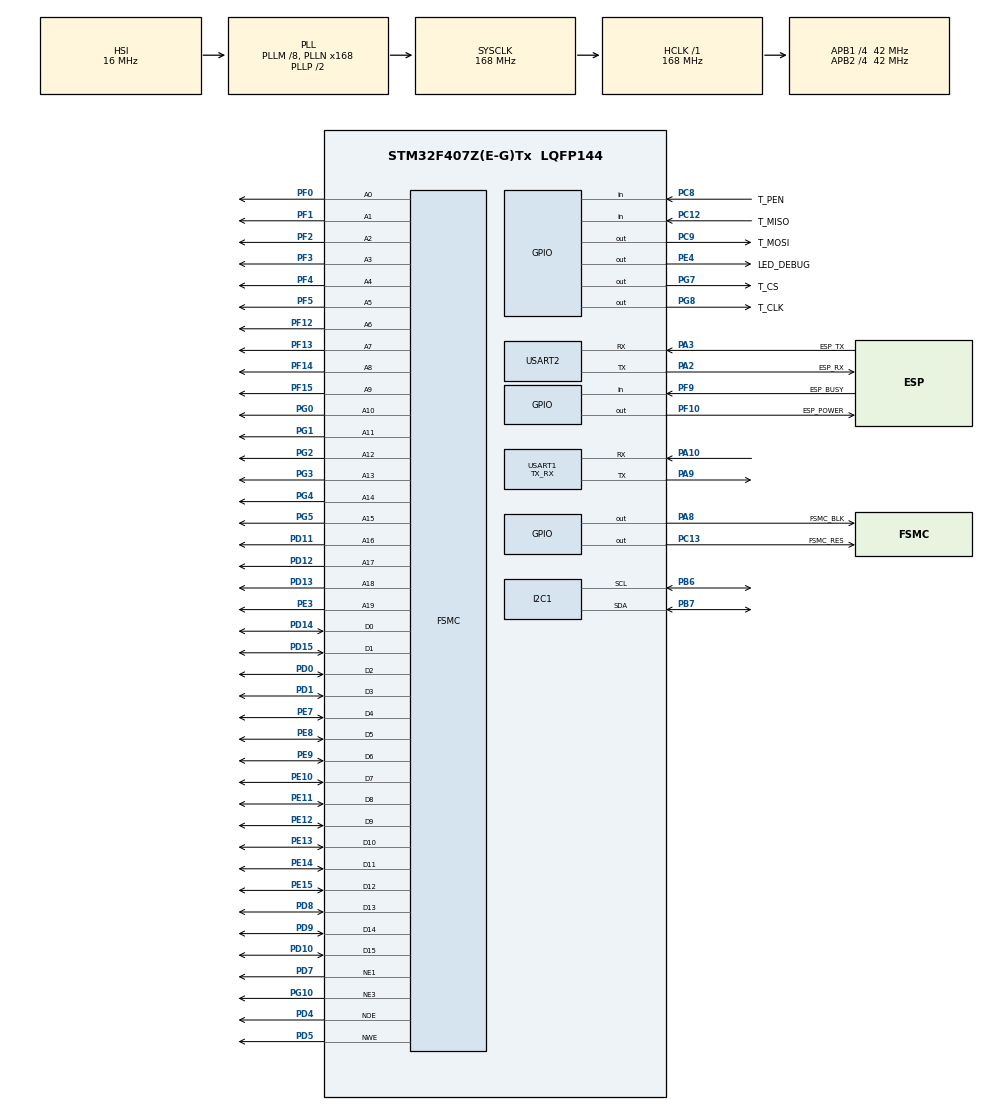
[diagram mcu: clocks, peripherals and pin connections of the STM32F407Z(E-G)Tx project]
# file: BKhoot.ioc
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Dma.MEMTOMEM.0.Direction=DMA_MEMORY_TO_MEMORY
Dma.MEMTOMEM.0.FIFOMode=DMA_FIFOMODE_ENABLE
Dma.MEMTOMEM.0.FIFOThreshold=DMA_FIFO_THRESHOLD_FULL
Dma.MEMTOMEM.0.Instance=DMA2_Stream0
Dma.MEMTOMEM.0.MemBurst=DMA_MBURST_SINGLE
Dma.MEMTOMEM.0.MemDataAlignment=DMA_MDATAALIGN_HALFWORD
Dma.MEMTOMEM.0.MemInc=DMA_MINC_DISABLE
Dma.MEMTOMEM.0.Mode=DMA_NORMAL
Dma.MEMTOMEM.0.PeriphBurst=DMA_PBURST_INC8
Dma.MEMTOMEM.0.PeriphDataAlignment=DMA_PDATAALIGN_HALFWORD
Dma.MEMTOMEM.0.PeriphInc=DMA_PINC_ENABLE
Dma.MEMTOMEM.0.Priority=DMA_PRIORITY_MEDIUM
Dma.Request0=MEMTOMEM
Dma.Request1=USART1_TX
Dma.Request2=USART1_RX
Dma.USART1_RX.2.Direction=DMA_PERIPH_TO_MEMORY
Dma.USART1_RX.2.FIFOMode=DMA_FIFOMODE_DISABLE
Dma.USART1_RX.2.Instance=DMA2_Stream2
Dma.USART1_RX.2.MemDataAlignment=DMA_MDATAALIGN_BYTE
Dma.USART1_RX.2.MemInc=DMA_MINC_ENABLE
Dma.USART1_RX.2.Mode=DMA_CIRCULAR
Dma.USART1_RX.2.PeriphDataAlignment=DMA_PDATAALIGN_BYTE
Dma.USART1_RX.2.PeriphInc=DMA_PINC_DISABLE
Dma.USART1_RX.2.Priority=DMA_PRIORITY_LOW
Dma.USART1_TX.1.Direction=DMA_MEMORY_TO_PERIPH
Dma.USART1_TX.1.FIFOMode=DMA_FIFOMODE_DISABLE
Dma.USART1_TX.1.Instance=DMA2_Stream7
Dma.USART1_TX.1.MemDataAlignment=DMA_MDATAALIGN_BYTE
Dma.USART1_TX.1.MemInc=DMA_MINC_ENABLE
Dma.USART1_TX.1.Mode=DMA_NORMAL
Dma.USART1_TX.1.PeriphDataAlignment=DMA_PDATAALIGN_BYTE
Dma.USART1_TX.1.PeriphInc=DMA_PINC_DISABLE
Dma.USART1_TX.1.Priority=DMA_PRIORITY_MEDIUM
FREERTOS.BinarySemaphores01=uart_tx_sem,Dynamic,NULL,Available
FREERTOS.HEAP_NUMBER=5
FREERTOS.Mutexes01=lvgl_mutex,Dynamic,NULL,Available
FREERTOS.Queues01=commQueue,10,uint32_t,0,Dynamic,NULL,NULL;uartRxQueue,3,uint16_t,0,Dynamic,NULL,NULL
FREERTOS.Tasks01=ledBlinkingTask,24,128,StartTask_LedBlinking,Default,NULL,Dynamic,NULL,NULL;GUI_Task,48,2048,StartTask_LVGL,As external,NULL,Static,GUI_TaskBuffer,GUI_TaskControlBlock;Communication_T,24,512,StartTask_COMM,As external,NULL,Dynamic,NULL,NULL;Game_Logic_Task,24,512,StartTask_GAME,As external,NULL,Dynamic,NULL,NULL;CommandParser,24,512,StartTask_CommandParser,As external,NULL,Dynamic,NULL,NULL
FREERTOS.configTOTAL_HEAP_SIZE=120000
FREERTOS.configUSE_NEWLIB_REENTRANT=1
FSMC.AddressSetupTime1=0xf
FSMC.AddressSetupTime2=2
FSMC.BusTurnAroundDuration1=0
FSMC.BusTurnAroundDuration2=1
FSMC.DataSetupTime1=60
FSMC.DataSetupTime2=3
FSMC.ExtendedAddressSetupTime1=8
FSMC.ExtendedBusTurnAroundDuration1=0
FSMC.ExtendedDataSetupTime1=9
FSMC.ExtendedMode1=FSMC_EXTENDED_MODE_ENABLE
FSMC.ExtendedMode2=FSMC_EXTENDED_MODE_DISABLE
FSMC.WriteOperation2=FSMC_WRITE_OPERATION_ENABLE
I2C1.I2C_Mode=I2C_Standard
Mcu.Family=STM32F4
Mcu.Name=STM32F407Z(E-G)Tx
Mcu.Package=LQFP144
NVIC.DMA2_Stream0_IRQn=true\:5\:0\:false\:false\:true\:true\:true\:true\:true
NVIC.DMA2_Stream2_IRQn=true\:5\:0\:false\:false\:true\:true\:false\:true\:true
NVIC.DMA2_Stream7_IRQn=true\:5\:0\:false\:false\:true\:true\:false\:true\:true
NVIC.I2C1_EV_IRQn=true\:5\:0\:false\:false\:true\:true\:true\:true\:true
NVIC.PriorityGroup=NVIC_PRIORITYGROUP_4
NVIC.TIM2_IRQn=true\:15\:0\:false\:false\:true\:false\:false\:true\:true
NVIC.TimeBase=TIM2_IRQn
NVIC.TimeBaseIP=TIM2
NVIC.USART1_IRQn=true\:5\:0\:false\:false\:true\:true\:true\:true\:true
NVIC.USART2_IRQn=true\:5\:0\:false\:false\:true\:true\:true\:true\:true
PA10.Mode=Asynchronous
PA10.Signal=USART1_RX
PA13.Mode=Serial_Wire
PA13.Signal=SYS_JTMS-SWDIO
PA14.Mode=Serial_Wire
PA14.Signal=SYS_JTCK-SWCLK
PA2.GPIO_Label=ESP_RX
PA2.Mode=Asynchronous
PA2.Signal=USART2_TX
PA3.GPIO_Label=ESP_TX
PA3.Mode=Asynchronous
PA3.Signal=USART2_RX
PA8.GPIO_Label=FSMC_BLK
PA8.Signal=GPIO_Output
PA9.Mode=Asynchronous
PA9.Signal=USART1_TX
PB6.Mode=I2C
PB6.Signal=I2C1_SCL
PB7.Mode=I2C
PB7.Signal=I2C1_SDA
PC12.GPIO_Label=T_MISO
PC12.GPIO_PuPd=GPIO_PULLUP
PC12.Signal=GPIO_Input
PC13-ANTI_TAMP.GPIO_Label=FSMC_RES
PC13-ANTI_TAMP.Signal=GPIO_Output
PC8.GPIO_Label=T_PEN
PC8.GPIO_PuPd=GPIO_PULLUP
PC8.Signal=GPIO_Input
PC9.GPIO_Label=T_MOSI
PC9.Signal=GPIO_Output
PD0.Signal=FSMC_D2_DA2
PD1.Signal=FSMC_D3_DA3
PD10.Signal=FSMC_D15_DA15
PD11.Signal=FSMC_A16_CLE
PD12.Signal=FSMC_A17_ALE
PD13.Signal=FSMC_A18
PD14.Signal=FSMC_D0_DA0
PD15.Signal=FSMC_D1_DA1
PD4.Signal=FSMC_NOE
PD5.Signal=FSMC_NWE
PD7.Mode=NorPsramChipSelect1_1
PD7.Signal=FSMC_NE1
PD8.Signal=FSMC_D13_DA13
PD9.Signal=FSMC_D14_DA14
PE0.Signal=FSMC_NBL0
PE1.Signal=FSMC_NBL1
PE10.Signal=FSMC_D7_DA7
PE11.Signal=FSMC_D8_DA8
PE12.Signal=FSMC_D9_DA9
PE13.Signal=FSMC_D10_DA10
PE14.Signal=FSMC_D11_DA11
PE15.Signal=FSMC_D12_DA12
PE3.Signal=FSMC_A19
PE4.GPIO_Label=LED_DEBUG
PE4.Signal=GPIO_Output
PE7.Signal=FSMC_D4_DA4
PE8.Signal=FSMC_D5_DA5
PE9.Signal=FSMC_D6_DA6
PF0.Signal=FSMC_A0
PF1.Signal=FSMC_A1
PF10.GPIO_Label=ESP_POWER
PF10.GPIO_PuPd=GPIO_NOPULL
PF10.PinState=GPIO_PIN_SET
PF10.Signal=GPIO_Output
PF12.Signal=FSMC_A6
PF13.Signal=FSMC_A7
PF14.Signal=FSMC_A8
PF15.Signal=FSMC_A9
PF2.Signal=FSMC_A2
PF3.Signal=FSMC_A3
PF4.Signal=FSMC_A4
PF5.Signal=FSMC_A5
PF9.GPIO_Label=ESP_BUSY
PF9.Signal=GPIO_Input
PG0.Signal=FSMC_A10
PG1.Signal=FSMC_A11
PG10.Mode=NorPsramChipSelect3_2
PG10.Signal=FSMC_NE3
PG2.Signal=FSMC_A12
PG3.Signal=FSMC_A13
PG4.Signal=FSMC_A14
PG5.Signal=FSMC_A15
PG7.GPIO_Label=T_CS
PG7.Signal=GPIO_Output
PG8.GPIO_Label=T_CLK
PG8.Signal=GPIO_Output
PH0-OSC_IN.Mode=HSE-External-Oscillator
PH0-OSC_IN.Signal=RCC_OSC_IN
PH1-OSC_OUT.Mode=HSE-External-Oscillator
PH1-OSC_OUT.Signal=RCC_OSC_OUT
ProjectManager.HeapSize=0x200
ProjectManager.StackSize=0x400
ProjectManager.TargetToolchain=CMake
RCC.48MHZClocksFreq_Value=84000000
RCC.AHBFreq_Value=168000000
RCC.APB1CLKDivider=RCC_HCLK_DIV4
RCC.APB1Freq_Value=42000000
RCC.APB1TimFreq_Value=84000000
RCC.APB2CLKDivider=RCC_HCLK_DIV4
RCC.APB2Freq_Value=42000000
RCC.APB2TimFreq_Value=84000000
RCC.CortexFreq_Value=168000000
RCC.HCLKFreq_Value=168000000
RCC.HSE_VALUE=8000000
RCC.HSI_VALUE=16000000
RCC.LSE_VALUE=32768
RCC.PLLM=8
RCC.PLLN=168
RCC.SYSCLKFreq_VALUE=168000000
RCC.SYSCLKSource=RCC_SYSCLKSOURCE_PLLCLK
RCC.VCOOutputFreq_Value=336000000
SH.FSMC_A0.0=FSMC_A0,19b-a2
SH.FSMC_A1.0=FSMC_A1,19b-a2
SH.FSMC_A10.0=FSMC_A10,19b-a2
SH.FSMC_A11.0=FSMC_A11,19b-a2
SH.FSMC_A12.0=FSMC_A12,19b-a2
SH.FSMC_A13.0=FSMC_A13,19b-a2
SH.FSMC_A14.0=FSMC_A14,19b-a2
SH.FSMC_A15.0=FSMC_A15,19b-a2
SH.FSMC_A16_CLE.0=FSMC_A16,19b-a2
SH.FSMC_A17_ALE.0=FSMC_A17,19b-a2
SH.FSMC_A18.0=FSMC_A18,19b-a2
SH.FSMC_A19.0=FSMC_A19,A19_1
SH.FSMC_A2.0=FSMC_A2,19b-a2
SH.FSMC_A3.0=FSMC_A3,19b-a2
SH.FSMC_A4.0=FSMC_A4,19b-a2
SH.FSMC_A5.0=FSMC_A5,19b-a2
SH.FSMC_A6.0=FSMC_A6,19b-a2
SH.FSMC_A7.0=FSMC_A7,19b-a2
SH.FSMC_A8.0=FSMC_A8,19b-a2
SH.FSMC_A9.0=FSMC_A9,19b-a2
SH.FSMC_D0_DA0.0=FSMC_D0,16b-d1
SH.FSMC_D0_DA0.1=FSMC_D0,16b-d2
SH.FSMC_D10_DA10.0=FSMC_D10,16b-d1
SH.FSMC_D10_DA10.1=FSMC_D10,16b-d2
SH.FSMC_D11_DA11.0=FSMC_D11,16b-d1
SH.FSMC_D11_DA11.1=FSMC_D11,16b-d2
SH.FSMC_D12_DA12.0=FSMC_D12,16b-d1
SH.FSMC_D12_DA12.1=FSMC_D12,16b-d2
SH.FSMC_D13_DA13.0=FSMC_D13,16b-d1
SH.FSMC_D13_DA13.1=FSMC_D13,16b-d2
SH.FSMC_D14_DA14.0=FSMC_D14,16b-d1
SH.FSMC_D14_DA14.1=FSMC_D14,16b-d2
SH.FSMC_D15_DA15.0=FSMC_D15,16b-d1
SH.FSMC_D15_DA15.1=FSMC_D15,16b-d2
SH.FSMC_D1_DA1.0=FSMC_D1,16b-d1
SH.FSMC_D1_DA1.1=FSMC_D1,16b-d2
SH.FSMC_D2_DA2.0=FSMC_D2,16b-d1
SH.FSMC_D2_DA2.1=FSMC_D2,16b-d2
SH.FSMC_D3_DA3.0=FSMC_D3,16b-d1
SH.FSMC_D3_DA3.1=FSMC_D3,16b-d2
SH.FSMC_D4_DA4.0=FSMC_D4,16b-d1
SH.FSMC_D4_DA4.1=FSMC_D4,16b-d2
SH.FSMC_D5_DA5.0=FSMC_D5,16b-d1
SH.FSMC_D5_DA5.1=FSMC_D5,16b-d2
SH.FSMC_D6_DA6.0=FSMC_D6,16b-d1
SH.FSMC_D6_DA6.1=FSMC_D6,16b-d2
SH.FSMC_D7_DA7.0=FSMC_D7,16b-d1
SH.FSMC_D7_DA7.1=FSMC_D7,16b-d2
SH.FSMC_D8_DA8.0=FSMC_D8,16b-d1
SH.FSMC_D8_DA8.1=FSMC_D8,16b-d2
SH.FSMC_D9_DA9.0=FSMC_D9,16b-d1
SH.FSMC_D9_DA9.1=FSMC_D9,16b-d2
SH.FSMC_NBL0.0=FSMC_NBL0
SH.FSMC_NBL1.0=FSMC_NBL1
SH.FSMC_NOE.0=FSMC_NOE,Lcd1
SH.FSMC_NOE.1=FSMC_NOE,Sram2
SH.FSMC_NWE.0=FSMC_NWE,Lcd1
SH.FSMC_NWE.1=FSMC_NWE,Sram2
TIM1.Prescaler=84-1
USART1.Mode=MODE_TX_RX
USART1.VirtualMode=VM_ASYNC
USART2.VirtualMode=VM_ASYNC
VP_FREERTOS_VS_CMSIS_V2.Mode=CMSIS_V2
VP_SYS_VS_tim2.Mode=TIM2
VP_TIM1_VS_ClockSourceINT.Mode=Internal
board=custom

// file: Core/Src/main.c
/* USER CODE BEGIN Header */
/**
  ******************************************************************************
  * @file           : main.c
  * @brief          : Main program body
  ******************************************************************************
  * @attention
  *
  * Copyright (c) 2026 STMicroelectronics.
  * All rights reserved.
  *
  * This software is licensed under terms that can be found in the LICENSE file
  * in the root directory of this software component.
  * If no LICENSE file comes with this software, it is provided AS-IS.
  *
  ******************************************************************************
  */
/* USER CODE END Header */
#include "main.h"
#include "cmsis_os.h"
#include "dma.h"
#include "i2c.h"
#include "tim.h"
#include "usart.h"
#include "gpio.h"
#include "fsmc.h"

/* USER CODE BEGIN Includes */
#include "rs232.h"
#include <stdio.h>
/* USER CODE END Includes */

/* USER CODE BEGIN PD */
/* Place the heap array into the custom linker section we created */
__attribute__((section(".ext_ram_data"))) uint8_t ucExternalHeap[ 512 * 1024 ];
/* USER CODE END PD */

/* USER CODE BEGIN PV */
/* Define the custom heap regions array */
HeapRegion_t xHeapRegions[] = {
  { ( uint8_t * ) ucExternalHeap, sizeof(ucExternalHeap) },
  { NULL, 0 } /* Must be terminated with a NULL pointer and 0 size */
};
/* USER CODE END PV */

void SystemClock_Config(void);
void MX_FREERTOS_Init(void);
/* USER CODE BEGIN PFP */
void HAL_DMA_TxCpltCallback(DMA_HandleTypeDef *hdma);
static void ExtSRAM_SelfTest(void);
/* USER CODE END PFP */

/* USER CODE BEGIN 0 */
/**
 * @brief Exhaustively write/read-back the external FSMC SRAM (ucExternalHeap)
 *        before FreeRTOS is allowed to carve task stacks out of it. Reports
 *        pass/fail (and the first bad address) over huart1 with a blocking
 *        transmit, since neither the RTOS nor DMA are up yet at this point.
 */
static void ExtSRAM_SelfTest(void)
{
  volatile uint16_t *sram = (volatile uint16_t *)ucExternalHeap;
  const uint32_t words = sizeof(ucExternalHeap) / sizeof(uint16_t);
  uint32_t bad_index = words; /* sentinel: no failure */
  uint16_t bad_expected = 0, bad_actual = 0;
  char msg[112];
  int len;

  /* Pass 1: address-derived pattern (catches stuck/shorted address lines) */
  for (uint32_t i = 0; i < words; i++) {
    sram[i] = (uint16_t)i;
  }
  for (uint32_t i = 0; i < words; i++) {
    uint16_t actual = sram[i];
    if (actual != (uint16_t)i) {
      bad_index = i;
      bad_expected = (uint16_t)i;
      bad_actual = actual;
      break;
    }
  }

  /* Pass 2: inverted pattern (catches stuck data lines), only if pass 1 ok */
  if (bad_index == words) {
    for (uint32_t i = 0; i < words; i++) {
      sram[i] = (uint16_t)(~i);
    }
    for (uint32_t i = 0; i < words; i++) {
      uint16_t actual = sram[i];
      if (actual != (uint16_t)(~i)) {
        bad_index = i;
        bad_expected = (uint16_t)(~i);
        bad_actual = actual;
        break;
      }
    }
  }

  if (bad_index == words) {
    len = snprintf(msg, sizeof(msg), "EXTSRAM self-test: PASS (%lu bytes)\r\n",
                    (unsigned long)sizeof(ucExternalHeap));
  } else {
    len = snprintf(msg, sizeof(msg),
                    "EXTSRAM self-test: FAIL at 0x%08lX exp=0x%04X got=0x%04X\r\n",
                    (unsigned long)&sram[bad_index], bad_expected, bad_actual);
  }
  if (len > 0) {
    HAL_UART_Transmit(&huart1, (uint8_t *)msg, (uint16_t)len, 2000);
  }
}
/* USER CODE END 0 */

int main(void)
{

  /* MCU Configuration--------------------------------------------------------*/

  /* Reset of all peripherals, Initializes the Flash interface and the Systick. */
  HAL_Init();

  /* Configure the system clock */
  SystemClock_Config();

  /* Initialize all configured peripherals */
  MX_GPIO_Init();
  MX_DMA_Init();
  MX_FSMC_Init();
  MX_I2C1_Init();
  MX_TIM1_Init();
  MX_USART1_UART_Init();
  MX_USART2_UART_Init();
  /* USER CODE BEGIN 2 */
  ExtSRAM_SelfTest();
  vPortDefineHeapRegions(xHeapRegions);
  HAL_DMA_RegisterCallback(&hdma_memtomem_dma2_stream0, HAL_DMA_XFER_CPLT_CB_ID, HAL_DMA_TxCpltCallback);

  // Start receiving data into rx_buffer.
  // It will trigger an interrupt when the line goes IDLE.
  HAL_UARTEx_ReceiveToIdle_DMA(&huart1, rx_buffer, RX_BUFFER_SIZE);
  // Optional: Disable the Half-Transfer interrupt if you don't need it
  // to save CPU cycles (recommended).
  __HAL_DMA_DISABLE_IT(huart1.hdmarx, DMA_IT_HT);
  /* USER CODE END 2 */

  /* Init scheduler */
  osKernelInitialize();  /* Call init function for freertos objects (in cmsis_os2.c) */
  MX_FREERTOS_Init();

  /* Start scheduler */
  osKernelStart();

  /* We should never get here as control is now taken by the scheduler */

  /* Infinite loop */
  while (1)
  {

  }
}

void SystemClock_Config(void)
{
  RCC_OscInitTypeDef RCC_OscInitStruct = {0};
  RCC_ClkInitTypeDef RCC_ClkInitStruct = {0};

  /** Configure the main internal regulator output voltage
  */
  __HAL_RCC_PWR_CLK_ENABLE();
  __HAL_PWR_VOLTAGESCALING_CONFIG(PWR_REGULATOR_VOLTAGE_SCALE1);

  /** Initializes the RCC Oscillators according to the specified parameters
  * in the RCC_OscInitTypeDef structure.
  */
  RCC_OscInitStruct.OscillatorType = RCC_OSCILLATORTYPE_HSI;
  RCC_OscInitStruct.HSIState = RCC_HSI_ON;
  RCC_OscInitStruct.HSICalibrationValue = RCC_HSICALIBRATION_DEFAULT;
  RCC_OscInitStruct.PLL.PLLState = RCC_PLL_ON;
  RCC_OscInitStruct.PLL.PLLSource = RCC_PLLSOURCE_HSI;
  RCC_OscInitStruct.PLL.PLLM = 8;
  RCC_OscInitStruct.PLL.PLLN = 168;
  RCC_OscInitStruct.PLL.PLLP = RCC_PLLP_DIV2;
  RCC_OscInitStruct.PLL.PLLQ = 4;
  if (HAL_RCC_OscConfig(&RCC_OscInitStruct) != HAL_OK)
  {
    Error_Handler();
  }

  /** Initializes the CPU, AHB and APB buses clocks
  */
  RCC_ClkInitStruct.ClockType = RCC_CLOCKTYPE_HCLK|RCC_CLOCKTYPE_SYSCLK
                              |RCC_CLOCKTYPE_PCLK1|RCC_CLOCKTYPE_PCLK2;
  RCC_ClkInitStruct.SYSCLKSource = RCC_SYSCLKSOURCE_PLLCLK;
  RCC_ClkInitStruct.AHBCLKDivider = RCC_SYSCLK_DIV1;
  RCC_ClkInitStruct.APB1CLKDivider = RCC_HCLK_DIV4;
  RCC_ClkInitStruct.APB2CLKDivider = RCC_HCLK_DIV4;

  if (HAL_RCC_ClockConfig(&RCC_ClkInitStruct, FLASH_LATENCY_5) != HAL_OK)
  {
    Error_Handler();
  }
}

void HAL_TIM_PeriodElapsedCallback(TIM_HandleTypeDef *htim)
{
  if (htim->Instance == TIM2)
  {
    HAL_IncTick();
  }
}

void Error_Handler(void)
{
  __disable_irq();
  while (1)
  {
  }
}

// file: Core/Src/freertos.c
/* USER CODE BEGIN Header */
/**
  ******************************************************************************
  * File Name          : freertos.c
  * Description        : Code for freertos applications
  ******************************************************************************
  * @attention
  *
  * Copyright (c) 2026 STMicroelectronics.
  * All rights reserved.
  *
  * This software is licensed under terms that can be found in the LICENSE file
  * in the root directory of this software component.
  * If no LICENSE file comes with this software, it is provided AS-IS.
  *
  ******************************************************************************
  */
/* USER CODE END Header */

#include "FreeRTOS.h"
#include "task.h"
#include "main.h"
#include "cmsis_os.h"

typedef StaticTask_t osStaticThreadDef_t;

/* USER CODE BEGIN Variables */
/* Serializes comm_send_cmd(): the GUI task and the game task both send frames on USART2 */
osMutexId_t uart2_tx_mutexHandle;
const osMutexAttr_t uart2_tx_mutex_attributes = {
  .name = "uart2_tx_mutex"
};
/* USER CODE END Variables */
/* Definitions for ledBlinkingTask */
osThreadId_t ledBlinkingTaskHandle;
const osThreadAttr_t ledBlinkingTask_attributes = {
  .name = "ledBlinkingTask",
  .stack_size = 128 * 4,
  .priority = (osPriority_t) osPriorityNormal,
};
/* Definitions for GUI_Task */
osThreadId_t GUI_TaskHandle;
uint32_t GUI_TaskBuffer[ 2048 ];
osStaticThreadDef_t GUI_TaskControlBlock;
const osThreadAttr_t GUI_Task_attributes = {
  .name = "GUI_Task",
  .cb_mem = &GUI_TaskControlBlock,
  .cb_size = sizeof(GUI_TaskControlBlock),
  .stack_mem = &GUI_TaskBuffer[0],
  .stack_size = sizeof(GUI_TaskBuffer),
  .priority = (osPriority_t) osPriorityRealtime,
};
/* Definitions for Communication_T */
osThreadId_t Communication_THandle;
const osThreadAttr_t Communication_T_attributes = {
  .name = "Communication_T",
  .stack_size = 512 * 4,
  .priority = (osPriority_t) osPriorityNormal,
};
/* Definitions for Game_Logic_Task */
osThreadId_t Game_Logic_TaskHandle;
const osThreadAttr_t Game_Logic_Task_attributes = {
  .name = "Game_Logic_Task",
  .stack_size = 512 * 4,
  .priority = (osPriority_t) osPriorityNormal,
};
/* Definitions for CommandParser */
osThreadId_t CommandParserHandle;
const osThreadAttr_t CommandParser_attributes = {
  .name = "CommandParser",
  .stack_size = 512 * 4,
  .priority = (osPriority_t) osPriorityNormal,
};
/* Definitions for commQueue */
osMessageQueueId_t commQueueHandle;
const osMessageQueueAttr_t commQueue_attributes = {
  .name = "commQueue"
};
/* Definitions for uartRxQueue */
osMessageQueueId_t uartRxQueueHandle;
const osMessageQueueAttr_t uartRxQueue_attributes = {
  .name = "uartRxQueue"
};
/* Definitions for lvgl_mutex */
osMutexId_t lvgl_mutexHandle;
const osMutexAttr_t lvgl_mutex_attributes = {
  .name = "lvgl_mutex"
};
/* Definitions for uart_tx_sem */
osSemaphoreId_t uart_tx_semHandle;
const osSemaphoreAttr_t uart_tx_sem_attributes = {
  .name = "uart_tx_sem"
};

void StartTask_LedBlinking(void *argument);
extern void StartTask_LVGL(void *argument);
extern void StartTask_COMM(void *argument);
extern void StartTask_GAME(void *argument);
extern void StartTask_CommandParser(void *argument);

void MX_FREERTOS_Init(void); /* (MISRA C 2004 rule 8.1) */

void MX_FREERTOS_Init(void) {
  /* Create the mutex(es) */
  /* creation of lvgl_mutex */
  lvgl_mutexHandle = osMutexNew(&lvgl_mutex_attributes);

  /* USER CODE BEGIN RTOS_MUTEX */
  /* add mutexes, ... */
  uart2_tx_mutexHandle = osMutexNew(&uart2_tx_mutex_attributes);
  /* USER CODE END RTOS_MUTEX */

  /* Create the semaphores(s) */
  /* creation of uart_tx_sem */
  uart_tx_semHandle = osSemaphoreNew(1, 1, &uart_tx_sem_attributes);

  /* Create the queue(s) */
  /* creation of commQueue */
  commQueueHandle = osMessageQueueNew (10, sizeof(uint32_t), &commQueue_attributes);

  /* creation of uartRxQueue */
  uartRxQueueHandle = osMessageQueueNew (3, sizeof(uint16_t), &uartRxQueue_attributes);

  /* Create the thread(s) */
  /* creation of ledBlinkingTask */
  ledBlinkingTaskHandle = osThreadNew(StartTask_LedBlinking, NULL, &ledBlinkingTask_attributes);

  /* creation of GUI_Task */
  GUI_TaskHandle = osThreadNew(StartTask_LVGL, NULL, &GUI_Task_attributes);

  /* creation of Communication_T */
  Communication_THandle = osThreadNew(StartTask_COMM, NULL, &Communication_T_attributes);

  /* creation of Game_Logic_Task */
  Game_Logic_TaskHandle = osThreadNew(StartTask_GAME, NULL, &Game_Logic_Task_attributes);

  /* creation of CommandParser */
  CommandParserHandle = osThreadNew(StartTask_CommandParser, NULL, &CommandParser_attributes);

}

void StartTask_LedBlinking(void *argument)
{
  /* USER CODE BEGIN StartTask_LedBlinking */
  /* Infinite loop */
  for(;;)
  {
    HAL_GPIO_TogglePin(LED_DEBUG_GPIO_Port, LED_DEBUG_Pin);
    osDelay(1000);
  }
  /* USER CODE END StartTask_LedBlinking */
}

/* USER CODE BEGIN Application */
osStatus_t osThreadDetach(osThreadId_t thread_id)
{
    (void)thread_id;
    return osOK;
}

#include <string.h>

#define HEAP_WRAP_OFFSET 8

void* __wrap_malloc(size_t size) {
    void *p = pvPortMalloc(size + HEAP_WRAP_OFFSET);
    if (p != NULL) {
        *(size_t*)p = size;
        return (void*)((uint8_t*)p + HEAP_WRAP_OFFSET);
    }
    return NULL;
}

void __wrap_free(void* ptr) {
    if (ptr != NULL) {
        void *p = (uint8_t*)ptr - HEAP_WRAP_OFFSET;
        vPortFree(p);
    }
}

void* __wrap_realloc(void* ptr, size_t new_size) {
    if (new_size == 0) {
        __wrap_free(ptr);
        return NULL;
    }
    if (ptr == NULL) {
        return __wrap_malloc(new_size);
    }

    void *p = (uint8_t*)ptr - HEAP_WRAP_OFFSET;
    size_t old_size = *(size_t*)p;

    void *new_ptr = __wrap_malloc(new_size);
    if (new_ptr != NULL) {
        memcpy(new_ptr, ptr, (old_size < new_size) ? old_size : new_size);
        __wrap_free(ptr);
    }
    return new_ptr;
}

void* __wrap_calloc(size_t num, size_t size) {
    size_t total = num * size;
    void *ptr = __wrap_malloc(total);
    if (ptr != NULL) {
        memset(ptr, 0, total);
    }
    return ptr;
}
/* USER CODE END Application */
